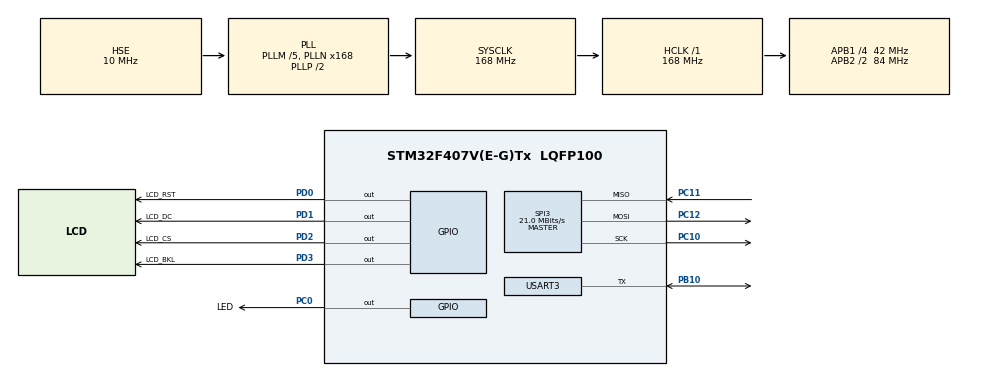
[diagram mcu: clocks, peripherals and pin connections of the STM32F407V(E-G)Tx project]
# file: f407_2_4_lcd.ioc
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Dma.Request0=SPI3_TX
Dma.SPI3_TX.0.Direction=DMA_MEMORY_TO_PERIPH
Dma.SPI3_TX.0.FIFOMode=DMA_FIFOMODE_DISABLE
Dma.SPI3_TX.0.Instance=DMA1_Stream5
Dma.SPI3_TX.0.MemDataAlignment=DMA_MDATAALIGN_BYTE
Dma.SPI3_TX.0.MemInc=DMA_MINC_ENABLE
Dma.SPI3_TX.0.Mode=DMA_NORMAL
Dma.SPI3_TX.0.PeriphDataAlignment=DMA_PDATAALIGN_BYTE
Dma.SPI3_TX.0.PeriphInc=DMA_PINC_DISABLE
Dma.SPI3_TX.0.Priority=DMA_PRIORITY_MEDIUM
Mcu.Family=STM32F4
Mcu.Name=STM32F407V(E-G)Tx
Mcu.Package=LQFP100
NVIC.DMA1_Stream5_IRQn=true\:0\:0\:false\:false\:true\:false\:true\:true
NVIC.PriorityGroup=NVIC_PRIORITYGROUP_4
NVIC.SPI3_IRQn=true\:0\:0\:false\:false\:true\:true\:true\:true
NVIC.TIM2_IRQn=true\:4\:0\:true\:false\:true\:true\:true\:true
NVIC.USART3_IRQn=true\:2\:0\:true\:false\:true\:true\:true\:true
PA13.Mode=Serial_Wire
PA13.Signal=SYS_JTMS-SWDIO
PA14.Mode=Serial_Wire
PA14.Signal=SYS_JTCK-SWCLK
PB10.Mode=Half_duplex(single_wire_mode)
PB10.Signal=USART3_TX
PC0.GPIO_Label=LED
PC0.Signal=GPIO_Output
PC10.Mode=Full_Duplex_Master
PC10.Signal=SPI3_SCK
PC11.Mode=Full_Duplex_Master
PC11.Signal=SPI3_MISO
PC12.Mode=Full_Duplex_Master
PC12.Signal=SPI3_MOSI
PD0.GPIO_Label=LCD_RST
PD0.Signal=GPIO_Output
PD1.GPIO_Label=LCD_DC
PD1.Signal=GPIO_Output
PD2.GPIO_Label=LCD_CS
PD2.Signal=GPIO_Output
PD3.GPIO_Label=LCD_BKL
PD3.Signal=GPIO_Output
PH0-OSC_IN.Mode=HSE-External-Oscillator
PH0-OSC_IN.Signal=RCC_OSC_IN
PH1-OSC_OUT.Mode=HSE-External-Oscillator
PH1-OSC_OUT.Signal=RCC_OSC_OUT
ProjectManager.HeapSize=0x2000
ProjectManager.StackSize=0x400
ProjectManager.TargetToolchain=STM32CubeIDE
RCC.48MHZClocksFreq_Value=48000000
RCC.AHBFreq_Value=168000000
RCC.APB1CLKDivider=RCC_HCLK_DIV4
RCC.APB1Freq_Value=42000000
RCC.APB1TimFreq_Value=84000000
RCC.APB2CLKDivider=RCC_HCLK_DIV2
RCC.APB2Freq_Value=84000000
RCC.APB2TimFreq_Value=168000000
RCC.CortexFreq_Value=168000000
RCC.HCLKFreq_Value=168000000
RCC.HSE_VALUE=10000000
RCC.HSI_VALUE=16000000
RCC.LSE_VALUE=32768
RCC.PLLM=5
RCC.PLLN=168
RCC.PLLQ=7
RCC.PLLSourceVirtual=RCC_PLLSOURCE_HSE
RCC.SYSCLKFreq_VALUE=168000000
RCC.SYSCLKSource=RCC_SYSCLKSOURCE_PLLCLK
RCC.VCOOutputFreq_Value=336000000
SPI3.BaudRatePrescaler=SPI_BAUDRATEPRESCALER_2
SPI3.CalculateBaudRate=21.0 MBits/s
SPI3.Direction=SPI_DIRECTION_2LINES
SPI3.Mode=SPI_MODE_MASTER
SPI3.VirtualType=VM_MASTER
TIM2.Period=84000
TIM2.Prescaler=1000
USART3.VirtualMode=VM_ASYNC
VP_TIM2_VS_ClockSourceINT.Mode=Internal
board=custom

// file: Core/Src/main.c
/* USER CODE BEGIN Header */
/**
  ******************************************************************************
  * @file           : main.c
  * @brief          : Main program body
  ******************************************************************************
  * @attention
  *
  * Copyright (c) 2023 STMicroelectronics.
  * All rights reserved.
  *
  * This software is licensed under terms that can be found in the LICENSE file
  * in the root directory of this software component.
  * If no LICENSE file comes with this software, it is provided AS-IS.
  *
  ******************************************************************************
  */
/* USER CODE END Header */
#include "main.h"

/* USER CODE BEGIN Includes */
#include "OneWire.h"
#include "GUI.h"
#include "Dialog.h"
#include "stdio.h"
#include "math.h"
#include "string.h"
/* USER CODE END Includes */

/* USER CODE BEGIN PTD */
extern GUI_CONST_STORAGE GUI_BITMAP bmlinux;
extern GUI_CONST_STORAGE GUI_FONT GUI_FontBNazanin36;

extern WM_HWIN CreateWindow(WM_HWIN parent);
WM_HWIN my_win;
/* USER CODE END PTD */

SPI_HandleTypeDef hspi3;
DMA_HandleTypeDef hdma_spi3_tx;

TIM_HandleTypeDef htim2;

UART_HandleTypeDef huart3;

void SystemClock_Config(void);
static void MX_GPIO_Init(void);
static void MX_DMA_Init(void);
static void MX_SPI3_Init(void);
static void MX_USART3_UART_Init(void);
static void MX_TIM2_Init(void);

int main(void)
{

  /* MCU Configuration--------------------------------------------------------*/

  /* Reset of all peripherals, Initializes the Flash interface and the Systick. */
  HAL_Init();

  /* Configure the system clock */
  SystemClock_Config();

  /* Initialize all configured peripherals */
  MX_GPIO_Init();
  MX_DMA_Init();
  MX_SPI3_Init();
  MX_USART3_UART_Init();
  MX_TIM2_Init();
  /* USER CODE BEGIN 2 */
 HAL_TIM_Base_Start_IT(&htim2);
 HAL_GPIO_WritePin(LCD_BKL_GPIO_Port, LCD_BKL_Pin, GPIO_PIN_SET);

 WM_SetCreateFlags(WM_CF_MEMDEV);
 GUI_Init();
 GUI_Clear();
 GUI_DrawBitmap(&bmlinux, 0, 0);
 HAL_Delay(1000);
 GUI_Clear();
 GUI_UC_SetEncodeUTF8(); /* Enable UTF8 decoding */
 GUI_UC_EnableBIDI(1);   /* Enable bidirectional text */

 GUI_Clear();
 GUI_SetFont(&GUI_FontBNazanin36);
 GUI_SetColor(GUI_RED);
 GUI_DispStringAt("پروژه کسری خدمت باباعباسی", 5, 10);
 GUI_SetColor(GUI_BLUE);
 GUI_DispStringAt("پروژه نمایشگر ", 5, 45);
 HAL_Delay(2000);
 get_ROMid();
 my_win = CreateWindow(WM_GetDesktopWindow());
 GUI_Exec();
  /* USER CODE END 2 */

  /* Infinite loop */
  /* USER CODE BEGIN WHILE */
  while (1)
  {
	  get_Temperature();
	  //GUI_Clear();
	  WM_InvalidateWindow(my_win);
	  GUI_Exec();
	  HAL_Delay(800);
    /* USER CODE END WHILE */

  }
}

void SystemClock_Config(void)
{
  RCC_OscInitTypeDef RCC_OscInitStruct = {0};
  RCC_ClkInitTypeDef RCC_ClkInitStruct = {0};

  /** Configure the main internal regulator output voltage
  */
  __HAL_RCC_PWR_CLK_ENABLE();
  __HAL_PWR_VOLTAGESCALING_CONFIG(PWR_REGULATOR_VOLTAGE_SCALE1);

  /** Initializes the RCC Oscillators according to the specified parameters
  * in the RCC_OscInitTypeDef structure.
  */
  RCC_OscInitStruct.OscillatorType = RCC_OSCILLATORTYPE_HSE;
  RCC_OscInitStruct.HSEState = RCC_HSE_ON;
  RCC_OscInitStruct.PLL.PLLState = RCC_PLL_ON;
  RCC_OscInitStruct.PLL.PLLSource = RCC_PLLSOURCE_HSE;
  RCC_OscInitStruct.PLL.PLLM = 5;
  RCC_OscInitStruct.PLL.PLLN = 168;
  RCC_OscInitStruct.PLL.PLLP = RCC_PLLP_DIV2;
  RCC_OscInitStruct.PLL.PLLQ = 7;
  if (HAL_RCC_OscConfig(&RCC_OscInitStruct) != HAL_OK)
  {
    Error_Handler();
  }

  /** Initializes the CPU, AHB and APB buses clocks
  */
  RCC_ClkInitStruct.ClockType = RCC_CLOCKTYPE_HCLK|RCC_CLOCKTYPE_SYSCLK
                              |RCC_CLOCKTYPE_PCLK1|RCC_CLOCKTYPE_PCLK2;
  RCC_ClkInitStruct.SYSCLKSource = RCC_SYSCLKSOURCE_PLLCLK;
  RCC_ClkInitStruct.AHBCLKDivider = RCC_SYSCLK_DIV1;
  RCC_ClkInitStruct.APB1CLKDivider = RCC_HCLK_DIV4;
  RCC_ClkInitStruct.APB2CLKDivider = RCC_HCLK_DIV2;

  if (HAL_RCC_ClockConfig(&RCC_ClkInitStruct, FLASH_LATENCY_5) != HAL_OK)
  {
    Error_Handler();
  }
}

static void MX_SPI3_Init(void)
{

  /* SPI3 parameter configuration*/
  hspi3.Instance = SPI3;
  hspi3.Init.Mode = SPI_MODE_MASTER;
  hspi3.Init.Direction = SPI_DIRECTION_2LINES;
  hspi3.Init.DataSize = SPI_DATASIZE_8BIT;
  hspi3.Init.CLKPolarity = SPI_POLARITY_LOW;
  hspi3.Init.CLKPhase = SPI_PHASE_1EDGE;
  hspi3.Init.NSS = SPI_NSS_SOFT;
  hspi3.Init.BaudRatePrescaler = SPI_BAUDRATEPRESCALER_2;
  hspi3.Init.FirstBit = SPI_FIRSTBIT_MSB;
  hspi3.Init.TIMode = SPI_TIMODE_DISABLE;
  hspi3.Init.CRCCalculation = SPI_CRCCALCULATION_DISABLE;
  hspi3.Init.CRCPolynomial = 10;
  if (HAL_SPI_Init(&hspi3) != HAL_OK)
  {
    Error_Handler();
  }

}

static void MX_TIM2_Init(void)
{

  TIM_ClockConfigTypeDef sClockSourceConfig = {0};
  TIM_MasterConfigTypeDef sMasterConfig = {0};

  htim2.Instance = TIM2;
  htim2.Init.Prescaler = 1000;
  htim2.Init.CounterMode = TIM_COUNTERMODE_UP;
  htim2.Init.Period = 84000;
  htim2.Init.ClockDivision = TIM_CLOCKDIVISION_DIV1;
  htim2.Init.AutoReloadPreload = TIM_AUTORELOAD_PRELOAD_DISABLE;
  if (HAL_TIM_Base_Init(&htim2) != HAL_OK)
  {
    Error_Handler();
  }
  sClockSourceConfig.ClockSource = TIM_CLOCKSOURCE_INTERNAL;
  if (HAL_TIM_ConfigClockSource(&htim2, &sClockSourceConfig) != HAL_OK)
  {
    Error_Handler();
  }
  sMasterConfig.MasterOutputTrigger = TIM_TRGO_RESET;
  sMasterConfig.MasterSlaveMode = TIM_MASTERSLAVEMODE_DISABLE;
  if (HAL_TIMEx_MasterConfigSynchronization(&htim2, &sMasterConfig) != HAL_OK)
  {
    Error_Handler();
  }

}

static void MX_USART3_UART_Init(void)
{

  huart3.Instance = USART3;
  huart3.Init.BaudRate = 115200;
  huart3.Init.WordLength = UART_WORDLENGTH_8B;
  huart3.Init.StopBits = UART_STOPBITS_1;
  huart3.Init.Parity = UART_PARITY_NONE;
  huart3.Init.Mode = UART_MODE_TX_RX;
  huart3.Init.HwFlowCtl = UART_HWCONTROL_NONE;
  huart3.Init.OverSampling = UART_OVERSAMPLING_16;
  if (HAL_HalfDuplex_Init(&huart3) != HAL_OK)
  {
    Error_Handler();
  }

}

static void MX_DMA_Init(void)
{

  /* DMA controller clock enable */
  __HAL_RCC_DMA1_CLK_ENABLE();

  /* DMA interrupt init */
  /* DMA1_Stream5_IRQn interrupt configuration */
  HAL_NVIC_SetPriority(DMA1_Stream5_IRQn, 0, 0);
  HAL_NVIC_EnableIRQ(DMA1_Stream5_IRQn);

}

static void MX_GPIO_Init(void)
{
  GPIO_InitTypeDef GPIO_InitStruct = {0};

  /* GPIO Ports Clock Enable */
  __HAL_RCC_GPIOH_CLK_ENABLE();
  __HAL_RCC_GPIOC_CLK_ENABLE();
  __HAL_RCC_GPIOB_CLK_ENABLE();
  __HAL_RCC_GPIOA_CLK_ENABLE();
  __HAL_RCC_GPIOD_CLK_ENABLE();

  /*Configure GPIO pin Output Level */
  HAL_GPIO_WritePin(LED_GPIO_Port, LED_Pin, GPIO_PIN_RESET);

  /*Configure GPIO pin Output Level */
  HAL_GPIO_WritePin(GPIOD, LCD_RST_Pin|LCD_DC_Pin|LCD_CS_Pin|LCD_BKL_Pin, GPIO_PIN_RESET);

  /*Configure GPIO pin : LED_Pin */
  GPIO_InitStruct.Pin = LED_Pin;
  GPIO_InitStruct.Mode = GPIO_MODE_OUTPUT_PP;
  GPIO_InitStruct.Pull = GPIO_NOPULL;
  GPIO_InitStruct.Speed = GPIO_SPEED_FREQ_LOW;
  HAL_GPIO_Init(LED_GPIO_Port, &GPIO_InitStruct);

  /*Configure GPIO pins : LCD_RST_Pin LCD_DC_Pin LCD_CS_Pin LCD_BKL_Pin */
  GPIO_InitStruct.Pin = LCD_RST_Pin|LCD_DC_Pin|LCD_CS_Pin|LCD_BKL_Pin;
  GPIO_InitStruct.Mode = GPIO_MODE_OUTPUT_PP;
  GPIO_InitStruct.Pull = GPIO_NOPULL;
  GPIO_InitStruct.Speed = GPIO_SPEED_FREQ_LOW;
  HAL_GPIO_Init(GPIOD, &GPIO_InitStruct);

}

/* USER CODE BEGIN 4 */
void HAL_TIM_PeriodElapsedCallback(TIM_HandleTypeDef *htim){
	if( htim == &htim2){
		HAL_GPIO_TogglePin(LED_GPIO_Port, LED_Pin);
	}
}
/* USER CODE END 4 */

void Error_Handler(void)
{
  __disable_irq();
  while (1)
  {
  }
}
